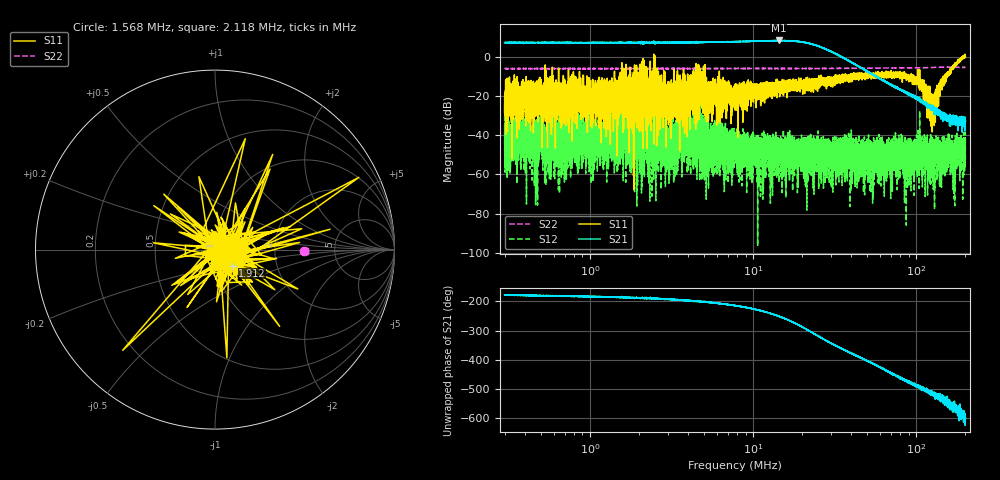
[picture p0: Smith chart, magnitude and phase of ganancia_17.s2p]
# Hz S DB R 50
! CMT, M5065, 19127446, 24.2.4/2
! Date: 11/1/2024 3:18:35 PM
! Data: Format (Calibration Info)
! Freq	S11:dB/Ang(F2)	S21:dB/Ang(F2)	S12:dB/Ang(F2)	S22:dB/Ang(F2)
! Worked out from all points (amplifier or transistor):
!   9000 points, 300 kHz to 200 MHz, reference 50 ohm
!   highest |S21| = 8.3 dB at 14.33 MHz (marker M1)
!   |S21| within 3 dB of that: start of sweep to 25.27 MHz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
!   unconditionally stable (mu >= 1): start of sweep to 2.462 MHz; 2.506 MHz to 190.4 MHz; 192 MHz to 193.2 MHz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
!   at 886.8 kHz: K = 7.40, MAG = 8.5 dB, |S12| = -33.2 dB
!   at 7.749 MHz: K = 21.53, MAG = 9.1 dB, |S12| = -43.1 dB
!   at 200 MHz: K = -39.52, MSG = 10.5 dB, |S12| = -53.6 dB
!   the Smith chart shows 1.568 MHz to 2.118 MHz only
!   S11 on the Smith chart (normalised r, x): 1.568 MHz: 1.15, +0.07; 1.912 MHz: 1.20, -0.22; 2.118 MHz: 1.01, +0.00
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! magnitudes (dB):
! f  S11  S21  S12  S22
! 300 kHz  -28.6  7.2  -30.1  -6.1
! 310.1 kHz  -23.7  7.2  -34.7  -6.1
! 320.6 kHz  -21.6  7.2  -43.8  -6.1
! 471.6 kHz  -16.7  7.2  -47.3  -6.1
! 509.5 kHz  -22.5  7.2  -38.8  -6.0
! 543.7 kHz  -17.0  7.2  -42.5  -6.0
! 576.9 kHz  -10.0  7.1  -49.2  -6.1
! 886.8 kHz  -20.7  7.3  -33.2  -6.1
! 1.568 MHz  -22.1  7.2  -50.6  -6.1
! 1.912 MHz  -17.5  7.1  -48.6  -6.1
! 2.118 MHz  -46.7  7.2  -50.0  -6.0
! 2.621 MHz  -20.0  7.3  -45.0  -6.0
! 7.749 MHz  -17.5  7.7  -43.1  -6.0
! 14.33 MHz  -13.0  8.3  -47.6  -6.0
! 22.91 MHz  -14.2  6.5  -57.4  -6.0
! 67.71 MHz  -9.8  -13.7  -41.6  -5.7
! 102.1 MHz  -11.1  -21.3  -48.5  -5.6
! 125.9 MHz  -28.9  -26.9  -45.2  -5.5
! 149.6 MHz  -11.4  -31.1  -47.5  -5.3
! 167.9 MHz  -5.7  -30.9  -47.9  -5.3
! 179.5 MHz  -2.9  -33.3  -44.2  -5.4
! 200 MHz  0.0  -32.7  -53.6  -5.4
